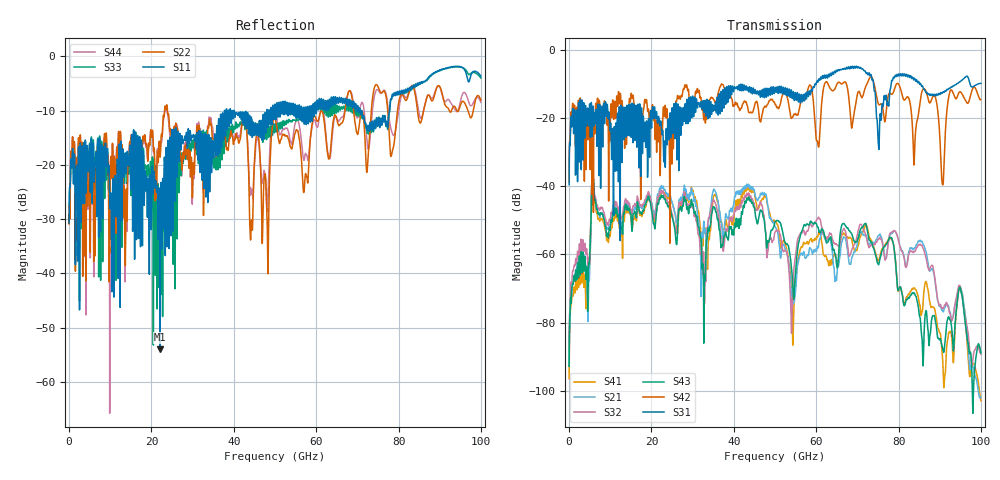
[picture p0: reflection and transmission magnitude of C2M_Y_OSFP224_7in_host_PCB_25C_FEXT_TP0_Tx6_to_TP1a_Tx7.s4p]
# GHz S RI R 45
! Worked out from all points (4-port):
!   4000 points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, 25 MHz to 100 GHz, reference 45 ohm
!   strongest paths, dB at 25 MHz, 25.02 GHz, 50.02 GHz, 75.03 GHz, 100 GHz:
!     S31: -39.6, -17.0, -11.1, -26.4, -9.9
!     S42: -38.8, -30.3, -16.0, -15.6, -14.6
!     S43: -92.8, -49.0, -50.5, -62.8, -88.9
!     S32: -86.7, -48.0, -53.4, -55.5, -89.2
!     S21: -92.9, -44.5, -51.9, -54.6, -101.9
!     S41: -96.4, -45.0, -50.4, -61.8, -102.9
!   lowest |S11| = -54.0 dB at 22.12 GHz (marker M1), VSWR 1.00, Z = 44.9 - j0.144 ohm
!   |S11| at or under -10 dB: start of sweep to 37.74 GHz; 40.08 GHz to 48.03 GHz (7.951 GHz wide, 18 % of centre); 71.07 GHz to 77.82 GHz (6.752 GHz wide, 9.07 % of centre)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
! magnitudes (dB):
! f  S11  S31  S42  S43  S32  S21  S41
! 25 MHz  -30.7  -39.6  -38.8  -92.8  -86.7  -92.9  -96.4
! 5.925 GHz  -16.5  -17.3  -47.7  -38.1  -37.7  -38.2  -38.6
! 22.12 GHz  -54.0  -21.7  -35.3  -43.7  -42.0  -40.9  -42.7
! 54.38 GHz  -8.7  -12.7  -19.6  -70.5  -68.7  -74.6  -85.4
! 73.3 GHz  -13.3  -7.2  -8.0  -56.4  -57.4  -56.8  -55.7
! 90.67 GHz  -2.4  -12.6  -39.5  -87.3  -75.6  -76.4  -89.7
! 100 GHz  -3.6  -9.9  -14.6  -88.9  -89.2  -101.9  -102.9
